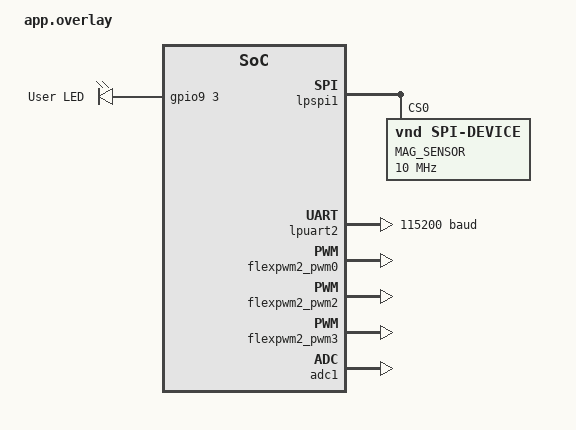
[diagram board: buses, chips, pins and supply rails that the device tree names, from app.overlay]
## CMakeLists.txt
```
cmake_minimum_required(VERSION 3.20.0)

find_package(Zephyr REQUIRED HINTS $ENV{ZEPHYR_BASE})
project(ELYOS_MotorDriver_Zephyr)

zephyr_include_directories(include)

target_sources(app PRIVATE 
    src/main.cpp
    src/foc_math.cpp
)
```

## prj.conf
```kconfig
# C++ support
CONFIG_CPP=y
CONFIG_STD_CPP17=y
CONFIG_REQUIRES_FULL_LIBCPP=y

# Console and logging
CONFIG_CONSOLE=y
CONFIG_UART_CONSOLE=y
CONFIG_LOG=y

# Enable GPIO
CONFIG_GPIO=y

# Enable PWM
CONFIG_PWM=y

# Enable ADC
CONFIG_ADC=y

# Enable SPI
CONFIG_SPI=y

# Full capabilities
CONFIG_SERIAL=y
CONFIG_UART_INTERRUPT_DRIVEN=y
```

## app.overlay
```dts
/*
 * Device Tree Overlay para Teensy 4.1 - Proyecto ELYOS Motor Driver
 */

/ {
    aliases {
        led0 = &led0;
        
        // PWM aliases para FOC
        pwm-phase-a = &flexpwm2_pwm0;
        pwm-phase-b = &flexpwm2_pwm2;
        pwm-phase-c = &flexpwm2_pwm3;
        
        // ADC
        adc-current = &adc1;
        adc-throttle = &adc1;
        
        // UART Telemetria
        uart-telem = &lpuart2;
    };

    leds {
        compatible = "gpio-leds";
        led0: led_0 {
            gpios = <&gpio9 3 GPIO_ACTIVE_HIGH>;
            label = "User LED";
        };
    };
};

&lpspi1 {
    status = "okay";
    
    // Configuración del sensor magnético SPI
    mag_sensor: as5048a@0 {
        compatible = "vnd,spi-device";
        reg = <0>;
        spi-max-frequency = <10000000>;
        label = "MAG_SENSOR";
    };
};

&lpuart2 {
    status = "okay";
    current-speed = <115200>;
};

&flexpwm2_pwm0 {
    status = "okay";
};

&flexpwm2_pwm2 {
    status = "okay";
};

&flexpwm2_pwm3 {
    status = "okay";
};

&adc1 {
    status = "okay";
    #address-cells = <1>;
    #size-cells = <0>;
};
```

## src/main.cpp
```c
// Workaround para bug de CMSIS con C++ en GCC
#define __sxtb16(x) (x)
#define __sxtab16(x, y) (x)

#include <zephyr/kernel.h>
#include <zephyr/logging/log.h>
#include <zephyr/drivers/gpio.h>
#include <zephyr/drivers/spi.h>
#include <zephyr/drivers/adc.h>
#include <zephyr/drivers/uart.h>
#include <fsl_pwm.h>
#include <fsl_clock.h>
#include "foc_math.h"

LOG_MODULE_REGISTER(elyos_driver, LOG_LEVEL_INF);

// ============================================================================
// HARDWARE DEVICES
// ============================================================================
const struct device *spi_dev = NULL;
const struct device *adc_dev = NULL;
const struct device *uart_dev = NULL;
static const struct gpio_dt_spec led = GPIO_DT_SPEC_GET_OR(DT_ALIAS(led0), gpios, {0});

static const struct spi_config spi_cfg = {
    .frequency = 10000000,
    .operation = SPI_WORD_SET(16) | SPI_TRANSFER_MSB | SPI_MODE_CPHA,
    .slave = 0
};

// ============================================================================
// VARIABLES GLOBALES (FOC)
// ============================================================================
float current_throttle = 0.0f;
float motor_angle = 0.0f;
float motor_velocity = 0.0f;
float Ua = 0.0f, Ub = 0.0f, Uc = 0.0f;

#define _2PI 6.28318530718f
#define DEADTIME_VAL 50

// ============================================================================
// RTOS PRIMITIVES
// ============================================================================
K_SEM_DEFINE(foc_timer_sem, 0, 1);
K_MSGQ_DEFINE(telemetry_queue, sizeof(float) * 3, 10, 4);

struct k_thread foc_thread_data;
struct k_thread throttle_thread_data;
struct k_thread telemetry_thread_data;
K_THREAD_STACK_DEFINE(foc_stack, 2048);
K_THREAD_STACK_DEFINE(throttle_stack, 1024);
K_THREAD_STACK_DEFINE(telemetry_stack, 1024);

// ============================================================================
// HILOS
// ============================================================================

#include <fsl_iomuxc.h>

void init_foc_pwm() {
    CLOCK_EnableClock(kCLOCK_Iomuxc);
    CLOCK_EnableClock(kCLOCK_Pwm2);
    
    // Configurar explAcitamente los pines para FlexPWM2 (Fase A, B, C)
    IOMUXC_SetPinMux(IOMUXC_GPIO_EMC_06_FLEXPWM2_PWMA00, 0U); 
    IOMUXC_SetPinConfig(IOMUXC_GPIO_EMC_06_FLEXPWM2_PWMA00, 0x10B0U);
    IOMUXC_SetPinMux(IOMUXC_GPIO_EMC_07_FLEXPWM2_PWMB00, 0U); 
    IOMUXC_SetPinConfig(IOMUXC_GPIO_EMC_07_FLEXPWM2_PWMB00, 0x10B0U);
    
    IOMUXC_SetPinMux(IOMUXC_GPIO_B0_10_FLEXPWM2_PWMA02, 0U); 
    IOMUXC_SetPinConfig(IOMUXC_GPIO_B0_10_FLEXPWM2_PWMA02, 0x10B0U);
    IOMUXC_SetPinMux(IOMUXC_GPIO_B0_11_FLEXPWM2_PWMB02, 0U); 
    IOMUXC_SetPinConfig(IOMUXC_GPIO_B0_11_FLEXPWM2_PWMB02, 0x10B0U);
    
    IOMUXC_SetPinMux(IOMUXC_GPIO_SD_B1_02_FLEXPWM2_PWMA03, 0U); 
    IOMUXC_SetPinConfig(IOMUXC_GPIO_SD_B1_02_FLEXPWM2_PWMA03, 0x10B0U);
    IOMUXC_SetPinMux(IOMUXC_GPIO_SD_B1_03_FLEXPWM2_PWMB03, 0U); 
    IOMUXC_SetPinConfig(IOMUXC_GPIO_SD_B1_03_FLEXPWM2_PWMB03, 0x10B0U);
    
    uint32_t pwmSourceClockInHz = CLOCK_GetFreq(kCLOCK_IpgClk);
    if (pwmSourceClockInHz == 0) pwmSourceClockInHz = 150000000; // Fallback seguro
    uint32_t pwmFreq = 20000; // 20kHz FOC
    
    pwm_config_t pwmConfig;
    PWM_GetDefaultConfig(&pwmConfig);
    pwmConfig.reloadLogic = kPWM_ReloadPwmFullCycle;
    pwmConfig.pairOperation = kPWM_ComplementaryPwmA;
    pwmConfig.enableDebugMode = true;
    
    PWM_Init(PWM2, kPWM_Module_0, &pwmConfig);
    PWM_Init(PWM2, kPWM_Module_2, &pwmConfig);
    PWM_Init(PWM2, kPWM_Module_3, &pwmConfig);
    
    // Deshabilitar fuentes de falla que podrian estar bloqueando las salidas
    for (int i = 0; i < FSL_FEATURE_PWM_FAULT_CH_COUNT; i++) {
        PWM2->SM[kPWM_Module_0].DISMAP[i] = 0x0000;
        PWM2->SM[kPWM_Module_2].DISMAP[i] = 0x0000;
        PWM2->SM[kPWM_Module_3].DISMAP[i] = 0x0000;
    }
    
    pwm_signal_param_t pwmSignal[2];
    
    pwmSignal[0].pwmChannel = kPWM_PwmA;
    pwmSignal[0].level = kPWM_HighTrue;
    pwmSignal[0].dutyCyclePercent = 0;
    pwmSignal[0].deadtimeValue = DEADTIME_VAL;
    pwmSignal[0].faultState = kPWM_PwmFaultState0;
    pwmSignal[0].pwmchannelenable = true;
    
    pwmSignal[1].pwmChannel = kPWM_PwmB;
    pwmSignal[1].level = kPWM_HighTrue;
    pwmSignal[1].dutyCyclePercent = 0;
    pwmSignal[1].deadtimeValue = DEADTIME_VAL;
    pwmSignal[1].faultState = kPWM_PwmFaultState0;
    pwmSignal[1].pwmchannelenable = true;
    
    PWM_SetupPwm(PWM2, kPWM_Module_0, pwmSignal, 2, kPWM_CenterAligned, pwmFreq, pwmSourceClockInHz);
    PWM_SetupPwm(PWM2, kPWM_Module_2, pwmSignal, 2, kPWM_CenterAligned, pwmFreq, pwmSourceClockInHz);
    PWM_SetupPwm(PWM2, kPWM_Module_3, pwmSignal, 2, kPWM_CenterAligned, pwmFreq, pwmSourceClockInHz);
    
    PWM_SetPwmLdok(PWM2, kPWM_Control_Module_0 | kPWM_Control_Module_2 | kPWM_Control_Module_3, true);
    
    // Forzar el encendido de las salidas fisicas A y B (High/Low) para los tres modulos
    PWM2->OUTEN |= ((1U << kPWM_Module_0) << PWM_OUTEN_PWMA_EN_SHIFT);
    PWM2->OUTEN |= ((1U << kPWM_Module_0) << PWM_OUTEN_PWMB_EN_SHIFT);
    PWM2->OUTEN |= ((1U << kPWM_Module_2) << PWM_OUTEN_PWMA_EN_SHIFT);
    PWM2->OUTEN |= ((1U << kPWM_Module_2) << PWM_OUTEN_PWMB_EN_SHIFT);
    PWM2->OUTEN |= ((1U << kPWM_Module_3) << PWM_OUTEN_PWMA_EN_SHIFT);
    PWM2->OUTEN |= ((1U << kPWM_Module_3) << PWM_OUTEN_PWMB_EN_SHIFT);
    
    PWM_StartTimer(PWM2, kPWM_Control_Module_0 | kPWM_Control_Module_2 | kPWM_Control_Module_3);
}

void set_pwm_duty(uint8_t duty_a_pct, uint8_t duty_b_pct, uint8_t duty_c_pct) {
    PWM_UpdatePwmDutycycle(PWM2, kPWM_Module_0, kPWM_PwmA, kPWM_CenterAligned, duty_a_pct);
    PWM_UpdatePwmDutycycle(PWM2, kPWM_Module_2, kPWM_PwmA, kPWM_CenterAligned, duty_b_pct);
    PWM_UpdatePwmDutycycle(PWM2, kPWM_Module_3, kPWM_PwmA, kPWM_CenterAligned, duty_c_pct);
    PWM_SetPwmLdok(PWM2, kPWM_Control_Module_0 | kPWM_Control_Module_2 | kPWM_Control_Module_3, true);
}

void foc_loop_task(void *a, void *b, void *c) {
    float v_bus = 12.0f;
    
    while (1) {
        k_sem_take(&foc_timer_sem, K_FOREVER);
        
        motor_angle += 0.001f; // 10 rad/s open loop
        if (motor_angle > _2PI) motor_angle -= _2PI;
        
        // Open loop voltage control para pruebas
        float v_d = 0.0f;
        float v_q = current_throttle * v_bus; 
        
        elyos_foc::DQVoltages dq = {v_d, v_q};
        elyos_foc::AlphaBeta ab = elyos_foc::inv_park(dq, motor_angle);
        elyos_foc::PhaseVoltages phases = elyos_foc::svpwm(ab, v_bus);
        
        Ua = phases.a;
        Ub = phases.b;
        Uc = phases.c;
        
        // Convertir fraccion de SVPWM (0.0 - 1.0) a porcentaje (0-100)
        uint8_t duty_a = (uint8_t)(phases.a * 100.0f);
        uint8_t duty_b = (uint8_t)(phases.b * 100.0f);
        uint8_t duty_c = (uint8_t)(phases.c * 100.0f);
        
        // Limitar duty
        if(duty_a > 100) duty_a = 100;
        if(duty_b > 100) duty_b = 100;
        if(duty_c > 100) duty_c = 100;
        
        set_pwm_duty(duty_a, duty_b, duty_c);
    }
}

void throttle_task(void *a, void *b, void *c) {
    while (1) {
        k_msleep(4); // 250 Hz
        if (adc_dev) {
            current_throttle = 0.4f; // 40% throttle fijo simulado
        }
    }
}

void telemetry_task(void *a, void *b, void *c) {
    while (1) {
        k_msleep(20); // 50 Hz
        
        float data[3] = {motor_angle, current_throttle, Ua};
        k_msgq_put(&telemetry_queue, &data, K_NO_WAIT);
        
        if (uart_dev) {
            uint8_t ch = 'T';
            uart_poll_out(uart_dev, ch);
        }
        
        if (led.port != NULL) {
            gpio_pin_toggle_dt(&led);
        }
    }
}

// ISR Timer Simulado
void simulated_timer_isr(struct k_timer *dummy) {
    k_sem_give(&foc_timer_sem);
}
K_TIMER_DEFINE(foc_timer, simulated_timer_isr, NULL);

// ============================================================================
// MAIN / SETUP
// ============================================================================
int main(void) {
    // El puerto USB ya se inicializa solo
    k_msleep(1500); 

    LOG_INF("================================================");
    LOG_INF("Arrancando ELYOS Motor Driver (Zephyr RTOS Port)");
    LOG_INF("================================================");

    if (led.port != NULL) {
        gpio_pin_configure_dt(&led, GPIO_OUTPUT_ACTIVE);
    }

    spi_dev = DEVICE_DT_GET_OR_NULL(DT_ALIAS(spi_mag));
    adc_dev = DEVICE_DT_GET_OR_NULL(DT_ALIAS(adc_motor));
    uart_dev = DEVICE_DT_GET_OR_NULL(DT_ALIAS(uart_telem));

    if (!spi_dev) LOG_WRN("SPI no configurado (standalone)");
    
    // Inicializar FOC PWM Hardware a bajo nivel (HAL)
    LOG_INF("Inicializando hardware puente H trifásico...");
    init_foc_pwm();

    LOG_INF("Iniciando hilos del RTOS...");
    
    k_thread_create(&foc_thread_data, foc_stack, K_THREAD_STACK_SIZEOF(foc_stack),
                    foc_loop_task, NULL, NULL, NULL,
                    K_PRIO_COOP(1), 0, K_NO_WAIT);

    k_thread_create(&throttle_thread_data, throttle_stack, K_THREAD_STACK_SIZEOF(throttle_stack),
                    throttle_task, NULL, NULL, NULL,
                    K_PRIO_COOP(5), 0, K_NO_WAIT);

    k_thread_create(&telemetry_thread_data, telemetry_stack, K_THREAD_STACK_SIZEOF(telemetry_stack),
                    telemetry_task, NULL, NULL, NULL,
                    K_PRIO_COOP(7), 0, K_NO_WAIT);

    // Arrancar timer a 10kHz (100us)
    k_timer_start(&foc_timer, K_USEC(100), K_USEC(100));

    LOG_INF("Sistema listo y operando a 10kHz.");

    return 0;
}
```

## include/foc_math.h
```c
#pragma once
#include <math.h>

namespace elyos_foc {

    // Constantes matemáticas
    constexpr float SQRT3 = 1.73205080757f;
    constexpr float SQRT3_2 = 0.86602540378f;
    constexpr float ONE_BY_SQRT3 = 0.57735026919f;
    constexpr float TWO_THIRDS = 0.66666666666f;

    struct PhaseCurrents {
        float a;
        float b;
        float c;
    };

    struct DQCurrents {
        float d;
        float q;
    };

    struct AlphaBeta {
        float alpha;
        float beta;
    };

    struct DQVoltages {
        float d;
        float q;
    };

    struct PhaseVoltages {
        float a;
        float b;
        float c;
    };

    // Controlador PI genérico
    class PIController {
    public:
        PIController(float kp, float ki, float limit) 
            : kp_(kp), ki_(ki), limit_(limit), integral_(0.0f) {}

        float operator()(float error, float dt) {
            integral_ += ki_ * error * dt;
            
            // Anti-windup clamping
            if (integral_ > limit_) integral_ = limit_;
            if (integral_ < -limit_) integral_ = -limit_;

            float output = kp_ * error + integral_;
            
            // Saturation
            if (output > limit_) output = limit_;
            if (output < -limit_) output = -limit_;

            return output;
        }

        void reset() { integral_ = 0.0f; }

    private:
        float kp_, ki_, limit_, integral_;
    };

    // 1. Transformada de Clarke: 3 fases (A,B,C) -> 2 fases estáticas (Alpha, Beta)
    inline AlphaBeta clarke(const PhaseCurrents& current) {
        AlphaBeta ab;
        // Asumiendo sistema balanceado: Ia + Ib + Ic = 0
        ab.alpha = current.a;
        ab.beta = ONE_BY_SQRT3 * current.a + TWO_THIRDS * SQRT3 * current.b;
        return ab;
    }

    // 2. Transformada de Park: (Alpha, Beta) estáticas -> (D, Q) rotatorias
    inline DQCurrents park(const AlphaBeta& ab, float angle_rad) {
        float c = cosf(angle_rad);
        float s = sinf(angle_rad);
        DQCurrents dq;
        dq.d = ab.alpha * c + ab.beta * s;
        dq.q = ab.beta * c - ab.alpha * s;
        return dq;
    }

    // 3. Transformada Inversa de Park: (D, Q) rotatorias -> (Alpha, Beta) estáticas
    inline AlphaBeta inv_park(const DQVoltages& dq, float angle_rad) {
        float c = cosf(angle_rad);
        float s = sinf(angle_rad);
        AlphaBeta ab;
        ab.alpha = dq.d * c - dq.q * s;
        ab.beta = dq.d * s + dq.q * c;
        return ab;
    }

    // 4. SVPWM (Space Vector Pulse Width Modulation)
    // Toma V_alpha y V_beta y retorna ciclos de trabajo [0.0, 1.0] para las 3 fases
    // asumiendo limit_v como la tensión máxima disponible.
    PhaseVoltages svpwm(const AlphaBeta& v_ab, float v_bus);

} // namespace elyos_foc
```

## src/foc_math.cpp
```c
#include "foc_math.h"

namespace elyos_foc {

    // Space Vector Modulation
    // Transforma V_alpha y V_beta en ciclos de trabajo para las fases (A, B, C)
    PhaseVoltages svpwm(const AlphaBeta& v_ab, float v_bus) {
        PhaseVoltages duties;
        
        // Evitar divisiones por cero
        if (v_bus <= 0.0f) {
            return {0.0f, 0.0f, 0.0f};
        }

        // Normalizamos el vector de voltaje por el voltaje del bus
        float u_alpha = v_ab.alpha / v_bus;
        float u_beta = v_ab.beta / v_bus;

        // Tiempos equivalentes de las fases usando modulación de punto medio (Center-Aligned)
        // Método de inyección de tercera armónica / SVPWM simplificado
        float tA = u_alpha;
        float tB = (-0.5f * u_alpha) + (SQRT3_2 * u_beta);
        float tC = (-0.5f * u_alpha) - (SQRT3_2 * u_beta);

        // Encontramos el máximo y el mínimo para centrar el PWM
        float tMax = tA;
        if (tB > tMax) tMax = tB;
        if (tC > tMax) tMax = tC;

        float tMin = tA;
        if (tB < tMin) tMin = tB;
        if (tC < tMin) tMin = tC;

        // Shift para centrar (inyección de armónica)
        float center_shift = -0.5f * (tMax + tMin);

        duties.a = tA + center_shift + 0.5f;
        duties.b = tB + center_shift + 0.5f;
        duties.c = tC + center_shift + 0.5f;

        // Saturación final (0.0 a 1.0)
        if (duties.a > 1.0f) duties.a = 1.0f; else if (duties.a < 0.0f) duties.a = 0.0f;
        if (duties.b > 1.0f) duties.b = 1.0f; else if (duties.b < 0.0f) duties.b = 0.0f;
        if (duties.c > 1.0f) duties.c = 1.0f; else if (duties.c < 0.0f) duties.c = 0.0f;

        return duties;
    }

} // namespace elyos_foc
```
